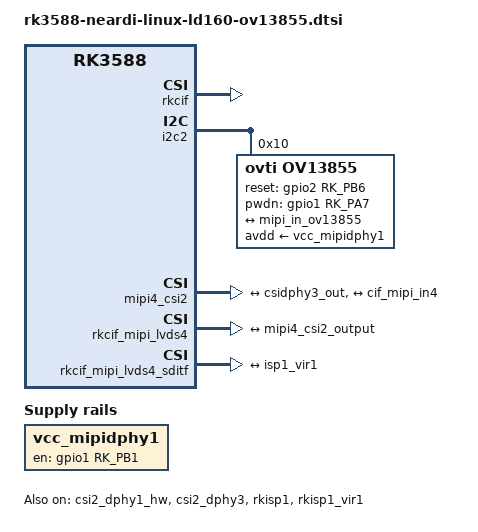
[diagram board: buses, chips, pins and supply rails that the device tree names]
// SPDX-License-Identifier: (GPL-2.0+ OR MIT)
/*
 * Copyright (c) 2021 Rockchip Electronics Co., Ltd.
 *
 */
 
 /*
 *
 *  sensor ->dphy0 ->csi-host2 -> vicp ->isp
 *
 *  Note:vicap logic out to xxx_sditf
 */
 
 /{
 	vcc_mipidphy1: vcc-mipidphy1-regulator {
		compatible = "regulator-fixed";
		gpio = <&gpio1 RK_PB1 GPIO_ACTIVE_HIGH>;
		pinctrl-names = "default";
		pinctrl-0 = <&mipidphy1_pwr>;
		regulator-name = "vcc_mipidphy1";
		enable-active-high;
		//regulator-always-on;
		//regulator-boot-on;
	};
 };
 /******    common   ******/
 &rkcif {
	status = "okay";
};

&rkcif_mmu {
	status = "okay";
};

&i2c2 {
	status = "okay";
		ov13855: ov13855@10 {
		compatible = "ovti,ov13855";
		status = "okay";
		reg = <0x10>;
		clocks = <&cru CLK_MIPI_CAMARAOUT_M2>;
		clock-names = "xvclk";
		power-domains = <&power RK3588_PD_VI>;
		pinctrl-names = "default";
		pinctrl-0 = <&mipim0_camera2_clk>;
		rockchip,grf = <&sys_grf>;
		reset-gpios = <&gpio2 RK_PB6 GPIO_ACTIVE_HIGH>;
		pwdn-gpios = <&gpio1 RK_PA7 GPIO_ACTIVE_HIGH>;
		avdd-supply = <&vcc_mipidphy1>;
		rockchip,camera-module-index = <1>;
		rockchip,camera-module-facing = "front";
		rockchip,camera-module-name = "CMK-OT2016-FV1";
		rockchip,camera-module-lens-name = "default";
		port {
			ov13855_out: endpoint {
				remote-endpoint = <&mipi_in_ov13855>;
				data-lanes = <1 2 3 4>;
			};
		};
	};
};

&csi2_dphy1_hw {
	status = "okay";
};

&csi2_dphy3 {
	status = "okay";

	ports {
		#address-cells = <1>;
		#size-cells = <0>;
		port@0 {
			reg = <0>;
			#address-cells = <1>;
			#size-cells = <0>;

			mipi_in_ov13855: endpoint@1 {
				reg = <1>;
				remote-endpoint = <&ov13855_out>;
				data-lanes = <1 2 3 4>;
			};
		};
		port@1 {
			reg = <1>;
			#address-cells = <1>;
			#size-cells = <0>;

			csidphy3_out: endpoint@0 {
				reg = <0>;
				remote-endpoint = <&mipi4_csi2_input>;
			};
		};
	};
};



&mipi4_csi2 {
	status = "okay";

	ports {
		#address-cells = <1>;
		#size-cells = <0>;

		port@0 {
			reg = <0>;
			#address-cells = <1>;
			#size-cells = <0>;

			mipi4_csi2_input: endpoint@1 {
				reg = <1>;
				remote-endpoint = <&csidphy3_out>;
			};
		};

		port@1 {
			reg = <1>;
			#address-cells = <1>;
			#size-cells = <0>;

			mipi4_csi2_output: endpoint@0 {
				reg = <0>;
				remote-endpoint = <&cif_mipi_in4>;
			};
		};
	};
};

&rkcif_mipi_lvds4 {
	status = "okay";

	port {
		cif_mipi_in4: endpoint {
			remote-endpoint = <&mipi4_csi2_output>;
		};
	};
};

&rkcif_mipi_lvds4_sditf {
	status = "okay";

	port {
		mipi4_lvds_sditf: endpoint {
			remote-endpoint = <&isp1_vir1>;
		};
	};
};


&rkisp1 {
	status = "okay";
};

&isp1_mmu {
	status = "okay";
};


&rkisp1_vir1 {
	status = "okay";

	port {
		#address-cells = <1>;
		#size-cells = <0>;

		isp1_vir1: endpoint@0 {
			reg = <0>;
			remote-endpoint = <&mipi4_lvds_sditf>;
		};
	};
};

&pinctrl {
	cam {
		mipidphy1_pwr: mipidphy1-pwr {
			rockchip,pins =
				/* camera power en */
				<1 RK_PB1 RK_FUNC_GPIO &pcfg_pull_none>;
		};
		
		pwdn_gpio: pwdn-gpio {
			rockchip,pins =
				/* camera power en */
				<1 RK_PA7 RK_FUNC_GPIO &pcfg_pull_down_drv_level_15>;
		};
	};
};






